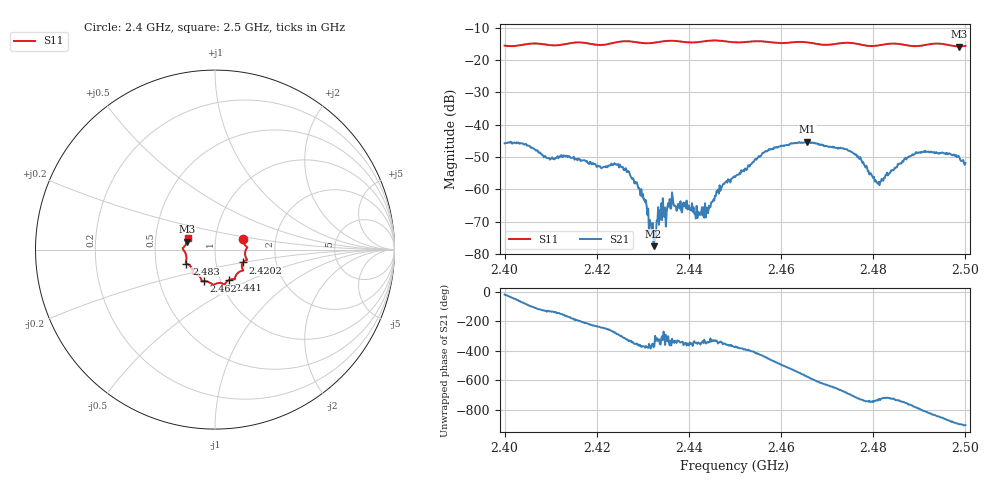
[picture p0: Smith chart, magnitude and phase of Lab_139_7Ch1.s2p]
# Hz S RI R 50
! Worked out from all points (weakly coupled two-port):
!   601 points, 2.4 GHz to 2.5 GHz, reference 50 ohm
!   highest |S21| = -45.28 dB at 2.4657 GHz (marker M1); lowest = -77.5 dB at 2.4323 GHz (marker M2)
!   lowest |S11| = -15.8 dB at 2.4987 GHz (marker M3), VSWR 1.39, Z = 36.4 + j3.33 ohm
!   |S11| at or under -10 dB: start of sweep to end of sweep
!   S12 and S22 are empty: the file has one direction only
!   S11 on the Smith chart (normalised r, x): 2.4 GHz: 1.36, +0.17; 2.4202 GHz: 1.35, -0.20; 2.441 GHz: 1.09, -0.39; 2.462 GHz: 0.83, -0.30; 2.483 GHz: 0.72, -0.12; 2.5 GHz: 0.73, +0.09
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2.4e9  0.156 0.0601  0.00489 -0.00166  0 0  0 0
2.416667e9  0.1774 -0.0581  -0.00261 0.0011  0 0  0 0
2.420167e9  0.1557 -0.0718  -0.00135 0.0019  0 0  0 0
2.426667e9  0.157 -0.1165  0.00157 0.00117  0 0  0 0
2.430167e9  0.1325 -0.126  0.00069 -0.000111  0 0  0 0
2.432333e9  0.1161 -0.1439  0.000127 -3.73e-05  0 0  0 0
2.433333e9  0.1127 -0.1526  0.000423 0.000325  0 0  0 0
2.436e9  0.1108 -0.1649  0.000441 0.000245  0 0  0 0
2.441e9  0.0765 -0.1707  0.000502 0.000167  0 0  0 0
2.444167e9  0.0563 -0.1901  0.000413 0.000115  0 0  0 0
2.45e9  0.0265 -0.186  0.00149 -0.000422  0 0  0 0
2.456333e9  -0.0152 -0.1933  0.000708 -0.00368  0 0  0 0
2.462e9  -0.0622 -0.176  -0.0048 -0.00162  0 0  0 0
2.465667e9  -0.0748 -0.1723  -0.00445 0.00314  0 0  0 0
2.466667e9  -0.0762 -0.1667  -0.0034 0.0041  0 0  0 0
2.475833e9  -0.1255 -0.1315  0.00352 0.000602  0 0  0 0
2.480833e9  -0.143 -0.0864  0.00124 -0.00031  0 0  0 0
2.483e9  -0.1591 -0.078  0.00182 3.8e-05  0 0  0 0
2.483333e9  -0.1608 -0.0773  0.00176 5.62e-06  0 0  0 0
2.489667e9  -0.1625 -0.026  0.00118 -0.00349  0 0  0 0
2.498667e9  -0.1558 0.0445  -0.00314 -7.74e-05  0 0  0 0
2.5e9  -0.1529 0.0632  -0.00256 0.000198  0 0  0 0
